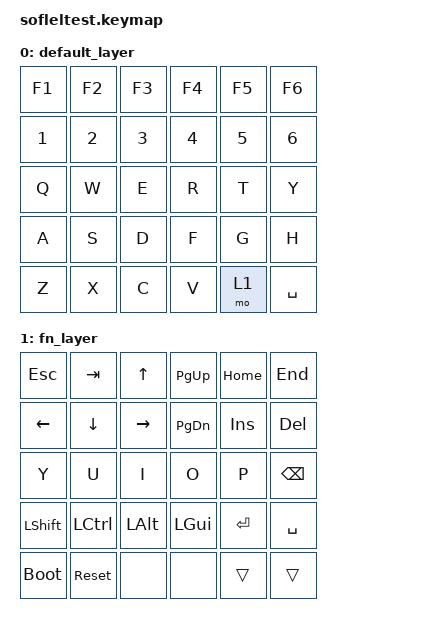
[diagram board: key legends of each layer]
#include <behaviors.dtsi>
#include <dt-bindings/zmk/keys.h>

/ {
    keymap {
        compatible = "zmk,keymap";

        default_layer {
            bindings = <
                &kp F1           &kp F2           &kp F3           &kp F4           &kp F5           &kp F6
                &kp N1           &kp N2           &kp N3           &kp N4           &kp N5           &kp N6
                &kp Q            &kp W            &kp E            &kp R            &kp T            &kp Y
                &kp A            &kp S            &kp D            &kp F            &kp G            &kp H
                &kp Z            &kp X            &kp C            &kp V            &mo 1            &kp SPACE
            >;
        };

        fn_layer {
            bindings = <
                &kp ESCAPE       &kp TAB          &kp UP           &kp PAGE_UP      &kp HOME         &kp END
                &kp LEFT         &kp DOWN         &kp RIGHT        &kp PAGE_DOWN    &kp INSERT       &kp DELETE
                &kp Y            &kp U            &kp I            &kp O            &kp P            &kp BACKSPACE
                &kp LEFT_SHIFT   &kp LEFT_CONTROL &kp LEFT_ALT     &kp LEFT_GUI     &kp ENTER        &kp SPACE
                &bootloader      &sys_reset       &none            &none            &trans           &trans
            >;
        };
    };
};
